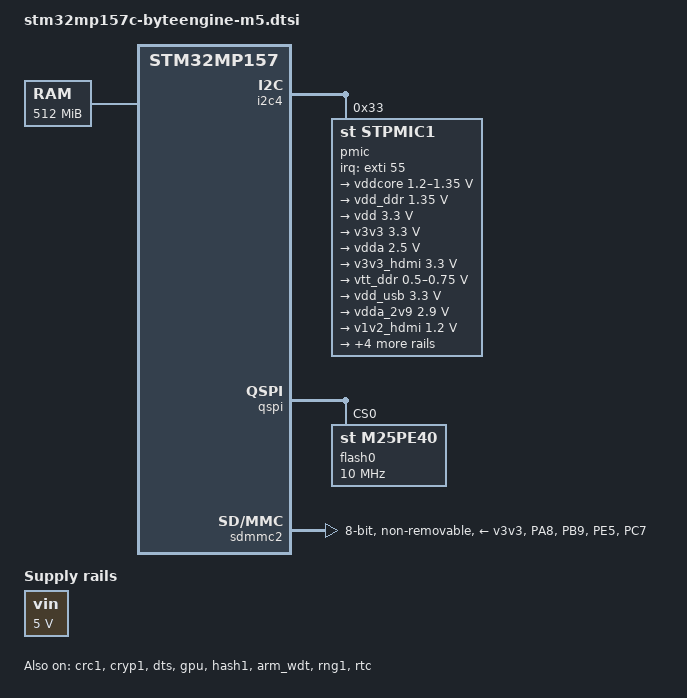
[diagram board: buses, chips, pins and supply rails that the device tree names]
// SPDX-License-Identifier: GPL-2.0
/*
 *  Copyright (C) 2019 bytes at work AG - http://www.bytesatwork.ch
 */

#include "stm32mp157.dtsi"
#include "stm32mp15xc.dtsi"
#include "stm32mp15-pinctrl.dtsi"
#include "stm32mp15xxac-pinctrl.dtsi"
#include "stm32mp15-m4-srm.dtsi"
#include "stm32mp15-m4-srm-pinctrl.dtsi"
#include "stm32mp157c-dk2-scmi.dtsi"
#include <dt-bindings/mfd/st,stpmic1.h>
#include <dt-bindings/gpio/gpio.h>
#include <dt-bindings/rtc/rtc-stm32.h>

/ {
	compatible = "batw,m5", "st,stm32mp157";

	memory@c0000000 {
		device_type = "memory";
		reg = <0xc0000000 0x20000000>;
	};

	reserved-memory {
		#address-cells = <1>;
		#size-cells = <1>;
		ranges;

		mcuram2: mcuram2@10000000 {
			compatible = "shared-dma-pool";
			reg = <0x10000000 0x40000>;
			no-map;
		};

		vdev0vring0: vdev0vring0@10040000 {
			compatible = "shared-dma-pool";
			reg = <0x10040000 0x1000>;
			no-map;
		};

		vdev0vring1: vdev0vring1@10041000 {
			compatible = "shared-dma-pool";
			reg = <0x10041000 0x1000>;
			no-map;
		};

		vdev0buffer: vdev0buffer@10042000 {
			compatible = "shared-dma-pool";
			reg = <0x10042000 0x4000>;
			no-map;
		};

		mcu_rsc_table: mcu_rsc_table@10048000 {
			compatible = "shared-dma-pool";
			reg = <0x10048000 0x8000>;
			no-map;
		};

		mcuram: mcuram@30000000 {
			compatible = "shared-dma-pool";
			reg = <0x30000000 0x40000>;
			no-map;
		};

		retram: retram@38000000 {
			compatible = "shared-dma-pool";
			reg = <0x38000000 0x10000>;
			no-map;
		};

		gpu_reserved: gpu@da000000 {
			reg = <0xda000000 0x4000000>;
			no-map;
		};

		optee@de000000 {
			reg = <0xde000000 0x2000000>;
			no-map;
		};
	};

	vin: vin {
		compatible = "regulator-fixed";
		regulator-name = "vin";
		regulator-min-microvolt = <5000000>;
		regulator-max-microvolt = <5000000>;
		regulator-always-on;
	};
};

&pinctrl {
	sdmmc2_d47_pins: sdmmc2-d47-0 {
		pins {
			pinmux = <STM32_PINMUX('A', 8, AF9)>, /* SDMMC2_D4 */
				 <STM32_PINMUX('B', 9, AF10)>, /* SDMMC2_D5 */
				 <STM32_PINMUX('E', 5, AF9)>, /* SDMMC2_D6 */
				 <STM32_PINMUX('C', 7, AF10)>; /* SDMMC2_D7 */
			slew-rate = <1>;
			drive-push-pull;
			bias-pull-up;
		};
	};

	sdmmc2_d47_sleep_pins: sdmmc2-d47-sleep-0 {
		pins {
			pinmux = <STM32_PINMUX('A', 8, ANALOG)>, /* SDMMC2_D4 */
				 <STM32_PINMUX('B', 9, ANALOG)>, /* SDMMC2_D5 */
				 <STM32_PINMUX('E', 5, ANALOG)>, /* SDMMC2_D6 */
				 <STM32_PINMUX('C', 7, ANALOG)>; /* SDMMC2_D7 */
		};
	};

};

/* PMIC and bytesatwork configuration EEPROM */
&i2c4 {
	pinctrl-names = "default", "sleep";
	pinctrl-0 = <&i2c4_pins_a>;
	pinctrl-1 = <&i2c4_sleep_pins_a>;
	i2c-scl-rising-time-ns = <185>;
	i2c-scl-falling-time-ns = <20>;
	status = "okay";
	/* spare dmas for other usage */
	/delete-property/dmas;
	/delete-property/dma-names;

	pmic: stpmic@33 {
		compatible = "st,stpmic1";
		reg = <0x33>;
		interrupts-extended = <&exti 55 IRQ_TYPE_EDGE_FALLING>;
		interrupt-controller;
		#interrupt-cells = <2>;
		status = "okay";

		regulators {
			compatible = "st,stpmic1-regulators";
			buck1-supply = <&vin>;
			buck2-supply = <&vin>;
			buck3-supply = <&vin>;
			buck4-supply = <&vin>;
			ldo1-supply = <&v3v3>;
			ldo2-supply = <&vin>;
			ldo3-supply = <&vdd_ddr>;
			ldo4-supply = <&vin>;
			ldo5-supply = <&vin>;
			ldo6-supply = <&v3v3>;
			vref_ddr-supply = <&vin>;
			boost-supply = <&vin>;
			pwr_sw1-supply = <&bst_out>;
			pwr_sw2-supply = <&bst_out>;

			vddcore: buck1 {
				regulator-name = "vddcore";
				regulator-min-microvolt = <1200000>;
				regulator-max-microvolt = <1350000>;
				regulator-always-on;
				regulator-initial-mode = <0>;
				regulator-over-current-protection;
			};

			vdd_ddr: buck2 {
				regulator-name = "vdd_ddr";
				regulator-min-microvolt = <1350000>;
				regulator-max-microvolt = <1350000>;
				regulator-always-on;
				regulator-initial-mode = <0>;
				regulator-over-current-protection;
			};

			vdd: buck3 {
				regulator-name = "vdd";
				regulator-min-microvolt = <3300000>;
				regulator-max-microvolt = <3300000>;
				regulator-always-on;
				st,mask-reset;
				regulator-initial-mode = <0>;
				regulator-over-current-protection;
			};

			v3v3: buck4 {
				regulator-name = "v3v3";
				regulator-min-microvolt = <3300000>;
				regulator-max-microvolt = <3300000>;
				regulator-always-on;
				regulator-over-current-protection;
				regulator-initial-mode = <0>;
			};

			vdda: ldo1 {
				regulator-name = "vdda";
				regulator-min-microvolt = <2500000>;
				regulator-max-microvolt = <2500000>;
				regulator-always-on;
				interrupts = <IT_CURLIM_LDO1 0>;
			};

			v3v3_hdmi: ldo2 {
				regulator-name = "v3v3_hdmi";
				regulator-min-microvolt = <3300000>;
				regulator-max-microvolt = <3300000>;
				regulator-always-on;
				interrupts = <IT_CURLIM_LDO2 0>;
			};

			vtt_ddr: ldo3 {
				regulator-name = "vtt_ddr";
				regulator-min-microvolt = <500000>;
				regulator-max-microvolt = <750000>;
				regulator-always-on;
				regulator-over-current-protection;
			};

			vdd_usb: ldo4 {
				regulator-name = "vdd_usb";
				regulator-min-microvolt = <3300000>;
				regulator-max-microvolt = <3300000>;
				interrupts = <IT_CURLIM_LDO4 0>;
				regulator-always-on;
			};

			vdda_2v9: ldo5 {
				regulator-name = "vdda_2v9";
				regulator-min-microvolt = <2900000>;
				regulator-max-microvolt = <2900000>;
				interrupts = <IT_CURLIM_LDO5 0>;
				regulator-boot-on;
			};

			v1v2_hdmi: ldo6 {
				regulator-name = "v1v2_hdmi";
				regulator-min-microvolt = <1200000>;
				regulator-max-microvolt = <1200000>;
				regulator-always-on;
				interrupts = <IT_CURLIM_LDO6 0>;
			};

			vref_ddr: vref_ddr {
				regulator-name = "vref_ddr";
				regulator-always-on;
				regulator-over-current-protection;
			};

			bst_out: boost {
				regulator-name = "bst_out";
				interrupts = <IT_OCP_BOOST 0>;
			};

			vbus_otg: pwr_sw1 {
				regulator-name = "vbus_otg";
				interrupts = <IT_OCP_OTG 0>;
			};

			vbus_sw: pwr_sw2 {
				regulator-name = "vbus_sw";
				interrupts = <IT_OCP_SWOUT 0>;
				regulator-active-discharge = <1>;
			};
		};

		onkey {
			compatible = "st,stpmic1-onkey";
			interrupts = <IT_PONKEY_F 0>, <IT_PONKEY_R 1>;
			interrupt-names = "onkey-falling", "onkey-rising";
			status = "disabled";
		};

		watchdog {
			compatible = "st,stpmic1-wdt";
			status = "disabled";
		};
	};
};

&cpu0{
	cpu-supply = <&vddcore>;
};

&cpu1{
	cpu-supply = <&vddcore>;
};

&crc1 {
	status = "okay";
};

&cryp1 {
	status="okay";
};

/* Thermal Sensor */
&dts {
	status = "okay";
};

&gpu {
	contiguous-area = <&gpu_reserved>;
	status = "okay";
};

&hash1 {
	status = "okay";
};

&ipcc {
	status = "okay";
};

&arm_wdt {
	status = "okay";
};

&m4_rproc {
	memory-region = <&retram>, <&mcuram>, <&mcuram2>, <&vdev0vring0>,
			<&vdev0vring1>, <&vdev0buffer>, <&mcu_rsc_table>;
	mboxes = <&ipcc 0>, <&ipcc 1>, <&ipcc 2>, <&ipcc 3>;
	mbox-names = "vq0", "vq1", "shutdown", "detach";
	interrupt-parent = <&exti>;
	interrupts = <68 1>;
	interrupt-names = "wdg";
	recovery;
	status = "disabled";
};

&pwr_regulators {
	vdd-supply = <&vdd>;
	vdd_3v3_usbfs-supply = <&vdd_usb>;
};

/* NOR Flash */
&qspi {
	pinctrl-names = "default", "sleep";
	pinctrl-0 = <&qspi_clk_pins_a
		     &qspi_bk1_pins_a
		     &qspi_cs1_pins_a>;
	pinctrl-1 = <&qspi_clk_sleep_pins_a
		     &qspi_bk1_sleep_pins_a
		     &qspi_cs1_sleep_pins_a>;
	reg = <0x58003000 0x1000>, <0x70000000 0x8000000>;
	#address-cells = <1>;
	#size-cells = <0>;
	status = "okay";

	flash0: w25n01g@0 {
		compatible = "st,m25pe40", "jedec,spi-nor";
		reg = <0>;
		spi-rx-bus-width = <2>;
		spi-max-frequency = <10000000>;
		#address-cells = <1>;
		#size-cells = <1>;
	};
};

&rng1 {
	status = "okay";
};

&rtc {
	status = "okay";
};

/* eMMC */
&sdmmc2 {
	pinctrl-names = "default", "opendrain", "sleep";
	pinctrl-0 = <&sdmmc2_b4_pins_a &sdmmc2_d47_pins>;
	pinctrl-1 = <&sdmmc2_b4_od_pins_a &sdmmc2_d47_pins>;
	pinctrl-2 = <&sdmmc2_b4_sleep_pins_a &sdmmc2_d47_sleep_pins>;
	non-removable;
	no-sd;
	no-sdio;
	st,neg-edge;
	bus-width = <8>;
	vmmc-supply = <&v3v3>;
	vqmmc-supply = <&v3v3>;
	mmc-ddr-3_3v;
	status = "okay";
};
